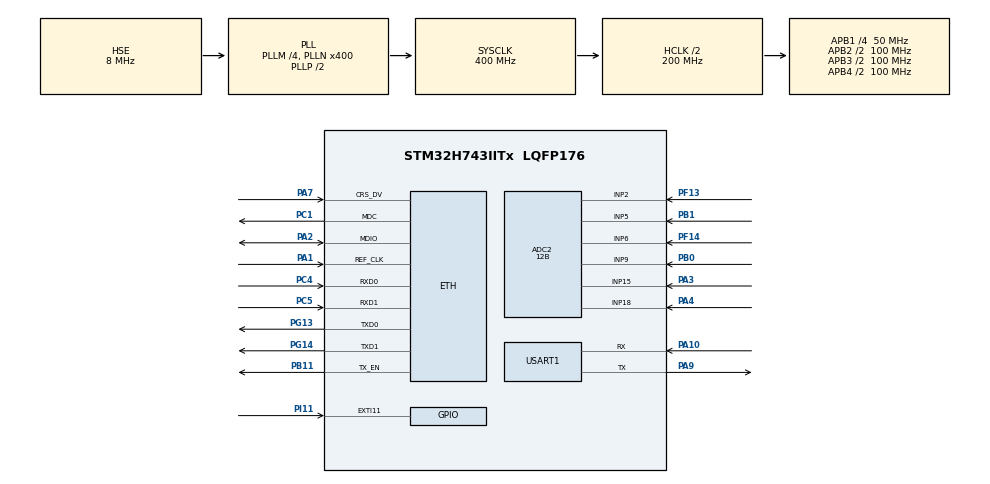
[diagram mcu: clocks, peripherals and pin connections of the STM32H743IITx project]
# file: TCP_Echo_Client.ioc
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ADC2.Channel-0\#ChannelRegularConversion=ADC_CHANNEL_2
ADC2.Channel-10\#ChannelRegularConversion=ADC_CHANNEL_15
ADC2.Channel-11\#ChannelRegularConversion=ADC_CHANNEL_18
ADC2.Channel-4\#ChannelRegularConversion=ADC_CHANNEL_5
ADC2.Channel-8\#ChannelRegularConversion=ADC_CHANNEL_6
ADC2.Channel-9\#ChannelRegularConversion=ADC_CHANNEL_9
ADC2.ClockPrescaler=ADC_CLOCK_ASYNC_DIV4
ADC2.ContinuousConvMode=DISABLE
ADC2.ConversionDataManagement=ADC_CONVERSIONDATA_DR
ADC2.EnableInjectedConversion=ENABLE
ADC2.InjNumberOfConversion=0
ADC2.LowPowerAutoWait=DISABLE
ADC2.NbrOfConversion=6
ADC2.NbrOfConversionFlag=1
ADC2.OffsetNumber-0\#ChannelRegularConversion=ADC_OFFSET_NONE
ADC2.OffsetNumber-10\#ChannelRegularConversion=ADC_OFFSET_NONE
ADC2.OffsetNumber-11\#ChannelRegularConversion=ADC_OFFSET_NONE
ADC2.OffsetNumber-4\#ChannelRegularConversion=ADC_OFFSET_NONE
ADC2.OffsetNumber-8\#ChannelRegularConversion=ADC_OFFSET_NONE
ADC2.OffsetNumber-9\#ChannelRegularConversion=ADC_OFFSET_NONE
ADC2.OversamplingMode=DISABLE
ADC2.Rank-0\#ChannelRegularConversion=1
ADC2.Rank-10\#ChannelRegularConversion=5
ADC2.Rank-11\#ChannelRegularConversion=6
ADC2.Rank-4\#ChannelRegularConversion=2
ADC2.Rank-8\#ChannelRegularConversion=3
ADC2.Rank-9\#ChannelRegularConversion=4
ADC2.Resolution=ADC_RESOLUTION_12B
ADC2.SamplingTime-0\#ChannelRegularConversion=ADC_SAMPLETIME_810CYCLES_5
ADC2.SamplingTime-10\#ChannelRegularConversion=ADC_SAMPLETIME_810CYCLES_5
ADC2.SamplingTime-11\#ChannelRegularConversion=ADC_SAMPLETIME_810CYCLES_5
ADC2.SamplingTime-4\#ChannelRegularConversion=ADC_SAMPLETIME_810CYCLES_5
ADC2.SamplingTime-8\#ChannelRegularConversion=ADC_SAMPLETIME_810CYCLES_5
ADC2.SamplingTime-9\#ChannelRegularConversion=ADC_SAMPLETIME_810CYCLES_5
CORTEX_M7.CPU_DCache=Enabled
CORTEX_M7.CPU_ICache=Enabled
ETH.MediaInterface=HAL_ETH_RMII_MODE
LWIP.BSP.number=1
LWIP.GATEWAY_ADDRESS=192.168.001.001
LWIP.IP_ADDRESS=192.168.001.110
LWIP.LWIP_DHCP=1
LWIP.LWIP_NETIF_LINK_CALLBACK=1
LWIP.NETMASK_ADDRESS=255.255.255.000
LWIP.TCP_QUEUE_OOSEQ=0
LWIP.Version=v2.0.3_Cube
LWIP0.BSP.STBoard=false
LWIP0.BSP.api=BSP_COMPONENT_DRIVER
LWIP0.BSP.component=LAN8742
LWIP0.BSP.i2caddr=0
LWIP0.BSP.instance=LAN8742
LWIP0.BSP.name=Driver_PHY
LWIP0.BSP.solution=LAN8742
Mcu.Family=STM32H7
Mcu.Name=STM32H743IITx
Mcu.Package=LQFP176
Mcu.UserConstants=DEST_IP_ADDR0,192;DEST_IP_ADDR1,168;DEST_IP_ADDR2,1;DEST_IP_ADDR3,206;DEST_PORT,7
NVIC.ETH_IRQn=true\:0\:0\:false\:false\:true\:true
NVIC.PriorityGroup=NVIC_PRIORITYGROUP_4
PA1.GPIO_Mode=GPIO_MODE_AF_PP
PA1.GPIO_PuPd=GPIO_NOPULL
PA1.GPIO_Speed=GPIO_SPEED_FREQ_LOW
PA1.Mode=RMII
PA1.Signal=ETH_REF_CLK
PA10.Mode=Asynchronous
PA10.Signal=USART1_RX
PA13\ (JTMS/SWDIO).Mode=JTAG_5_pins
PA13\ (JTMS/SWDIO).Signal=SYS_JTMS-SWDIO
PA14\ (JTCK/SWCLK).Mode=JTAG_5_pins
PA14\ (JTCK/SWCLK).Signal=SYS_JTCK-SWCLK
PA15\ (JTDI).Mode=JTAG_5_pins
PA15\ (JTDI).Signal=SYS_JTDI
PA2.GPIO_Mode=GPIO_MODE_AF_PP
PA2.GPIO_PuPd=GPIO_NOPULL
PA2.GPIO_Speed=GPIO_SPEED_FREQ_LOW
PA2.Mode=RMII
PA2.Signal=ETH_MDIO
PA3.Signal=ADCx_INP15
PA4.Signal=ADCx_INP18
PA7.GPIO_Mode=GPIO_MODE_AF_PP
PA7.GPIO_PuPd=GPIO_NOPULL
PA7.GPIO_Speed=GPIO_SPEED_FREQ_LOW
PA7.Mode=RMII
PA7.Signal=ETH_CRS_DV
PA9.Mode=Asynchronous
PA9.Signal=USART1_TX
PB0.Signal=ADCx_INP9
PB1.Signal=ADCx_INP5
PB11.GPIO_Mode=GPIO_MODE_AF_PP
PB11.GPIO_PuPd=GPIO_NOPULL
PB11.GPIO_Speed=GPIO_SPEED_FREQ_LOW
PB11.Mode=RMII
PB11.Signal=ETH_TX_EN
PB3\ (JTDO/TRACESWO).Mode=JTAG_5_pins
PB3\ (JTDO/TRACESWO).Signal=SYS_JTDO-SWO
PB4\ (NJTRST).Mode=JTAG_5_pins
PB4\ (NJTRST).Signal=SYS_JTRST
PC1.Mode=RMII
PC1.Signal=ETH_MDC
PC4.GPIO_Mode=GPIO_MODE_AF_PP
PC4.GPIO_PuPd=GPIO_NOPULL
PC4.GPIO_Speed=GPIO_SPEED_FREQ_LOW
PC4.Mode=RMII
PC4.Signal=ETH_RXD0
PC5.GPIO_Mode=GPIO_MODE_AF_PP
PC5.GPIO_PuPd=GPIO_NOPULL
PC5.GPIO_Speed=GPIO_SPEED_FREQ_LOW
PC5.Mode=RMII
PC5.Signal=ETH_RXD1
PF13.Mode=IN2-Single-Ended
PF13.Signal=ADC2_INP2
PF14.Mode=IN6-Single-Ended
PF14.Signal=ADC2_INP6
PG13.GPIO_Mode=GPIO_MODE_AF_PP
PG13.GPIO_PuPd=GPIO_NOPULL
PG13.GPIO_Speed=GPIO_SPEED_FREQ_LOW
PG13.Mode=RMII
PG13.Signal=ETH_TXD0
PG14.GPIO_Mode=GPIO_MODE_AF_PP
PG14.GPIO_PuPd=GPIO_NOPULL
PG14.GPIO_Speed=GPIO_SPEED_FREQ_LOW
PG14.Mode=RMII
PG14.Signal=ETH_TXD1
PH0-OSC_IN\ (PH0).Mode=HSE-External-Oscillator
PH0-OSC_IN\ (PH0).Signal=RCC_OSC_IN
PH1-OSC_OUT\ (PH1).Mode=HSE-External-Oscillator
PH1-OSC_OUT\ (PH1).Signal=RCC_OSC_OUT
PI11.GPIO_ModeDefaultEXTI=GPIO_MODE_IT_RISING
PI11.GPIO_PuPd=GPIO_NOPULL
PI11.Signal=GPXTI11
ProjectManager.HeapSize=0x200
ProjectManager.StackSize=0x400
ProjectManager.TargetToolchain=MDK-ARM V5
RCC.ADCFreq_Value=100000000
RCC.APB1Freq_Value=50000000
RCC.APB2Freq_Value=100000000
RCC.APB3Freq_Value=100000000
RCC.APB4Freq_Value=100000000
RCC.CortexFreq_Value=400000000
RCC.D1PPRE=RCC_APB3_DIV2
RCC.D2PPRE1=RCC_APB1_DIV4
RCC.D2PPRE2=RCC_APB2_DIV2
RCC.D3PPRE=RCC_APB4_DIV2
RCC.DIVM1=4
RCC.DIVM2=4
RCC.DIVM3=4
RCC.DIVN1=400
RCC.DIVN2=100
RCC.DIVN3=44
RCC.HCLKFreq_Value=200000000
RCC.HPRE=RCC_HCLK_DIV2
RCC.HSE_VALUE=8000000
RCC.PLLSourceVirtual=RCC_PLLSOURCE_HSE
RCC.SYSCLKFreq_VALUE=400000000
RCC.SYSCLKSource=RCC_SYSCLKSOURCE_PLLCLK
RCC.USBFreq_Value=400000000
SH.ADCx_INP15.0=ADC2_INP15,IN15-Single-Ended
SH.ADCx_INP18.0=ADC2_INP18,IN18-Single-Ended
SH.ADCx_INP5.0=ADC2_INP5,IN5-Single-Ended
SH.ADCx_INP9.0=ADC2_INP9,IN9-Single-Ended
USART1.VirtualMode-Asynchronous=VM_ASYNC
VP_LWIP_VS_Enabled.Mode=Enabled
board=custom

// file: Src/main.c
/* USER CODE BEGIN Header */
/**
  ******************************************************************************
  * @file           : main.c
  * @brief          : Main program body
  ******************************************************************************
  * This notice applies to any and all portions of this file
  * that are not between comment pairs USER CODE BEGIN and
  * USER CODE END. Other portions of this file, whether
  * inserted by the user or by software development tools
  * are owned by their respective copyright owners.
  *
  * Copyright (c) 2019 STMicroelectronics International N.V.
  * All rights reserved.
  *
  * Redistribution and use in source and binary forms, with or without
  * modification, are permitted, provided that the following conditions are met:
  *
  * 1. Redistribution of source code must retain the above copyright notice,
  *    this list of conditions and the following disclaimer.
  * 2. Redistributions in binary form must reproduce the above copyright notice,
  *    this list of conditions and the following disclaimer in the documentation
  *    and/or other materials provided with the distribution.
  * 3. Neither the name of STMicroelectronics nor the names of other
  *    contributors to this software may be used to endorse or promote products
  *    derived from this software without specific written permission.
  * 4. This software, including modifications and/or derivative works of this
  *    software, must execute solely and exclusively on microcontroller or
  *    microprocessor devices manufactured by or for STMicroelectronics.
  * 5. Redistribution and use of this software other than as permitted under
  *    this license is void and will automatically terminate your rights under
  *    this license.
  *
  * THIS SOFTWARE IS PROVIDED BY STMICROELECTRONICS AND CONTRIBUTORS "AS IS"
  * AND ANY EXPRESS, IMPLIED OR STATUTORY WARRANTIES, INCLUDING, BUT NOT
  * LIMITED TO, THE IMPLIED WARRANTIES OF MERCHANTABILITY, FITNESS FOR A
  * PARTICULAR PURPOSE AND NON-INFRINGEMENT OF THIRD PARTY INTELLECTUAL PROPERTY
  * RIGHTS ARE DISCLAIMED TO THE FULLEST EXTENT PERMITTED BY LAW. IN NO EVENT
  * SHALL STMICROELECTRONICS OR CONTRIBUTORS BE LIABLE FOR ANY DIRECT, INDIRECT,
  * INCIDENTAL, SPECIAL, EXEMPLARY, OR CONSEQUENTIAL DAMAGES (INCLUDING, BUT NOT
  * LIMITED TO, PROCUREMENT OF SUBSTITUTE GOODS OR SERVICES; LOSS OF USE, DATA,
  * OR PROFITS; OR BUSINESS INTERRUPTION) HOWEVER CAUSED AND ON ANY THEORY OF
  * LIABILITY, WHETHER IN CONTRACT, STRICT LIABILITY, OR TORT (INCLUDING
  * NEGLIGENCE OR OTHERWISE) ARISING IN ANY WAY OUT OF THE USE OF THIS SOFTWARE,
  * EVEN IF ADVISED OF THE POSSIBILITY OF SUCH DAMAGE.
  *
  ******************************************************************************
  */
/* USER CODE END Header */

#include "main.h"
#include "adc.h"
#include "lwip.h"
#include "usart.h"
#include "gpio.h"

/* USER CODE BEGIN Includes */
//#include "tcp_echoserver.h"
#include "udp_echoclient.h"

/* USER CODE END Includes */

void SystemClock_Config(void);

/* USER CODE BEGIN 0 */

static void MPU_Config(void)
{
  MPU_Region_InitTypeDef MPU_InitStruct;

  /* Disable the MPU */
  HAL_MPU_Disable();

  /* Configure the MPU attributes as Device not cacheable
     for ETH DMA descriptors */
  MPU_InitStruct.Enable = MPU_REGION_ENABLE;
  MPU_InitStruct.BaseAddress = 0x30040000;
  MPU_InitStruct.Size = MPU_REGION_SIZE_256B;
  MPU_InitStruct.AccessPermission = MPU_REGION_FULL_ACCESS;
  MPU_InitStruct.IsBufferable = MPU_ACCESS_BUFFERABLE;
  MPU_InitStruct.IsCacheable = MPU_ACCESS_NOT_CACHEABLE;
  MPU_InitStruct.IsShareable = MPU_ACCESS_NOT_SHAREABLE;
  MPU_InitStruct.Number = MPU_REGION_NUMBER0;
  MPU_InitStruct.TypeExtField = MPU_TEX_LEVEL0;
  MPU_InitStruct.SubRegionDisable = 0x00;
  MPU_InitStruct.DisableExec = MPU_INSTRUCTION_ACCESS_ENABLE;

  HAL_MPU_ConfigRegion(&MPU_InitStruct);

  /* Configure the MPU attributes as Cacheable write through
     for LwIP RAM heap which contains the Tx buffers */
  MPU_InitStruct.Enable = MPU_REGION_ENABLE;
  MPU_InitStruct.BaseAddress = 0x30044000;
  MPU_InitStruct.Size = MPU_REGION_SIZE_16KB;
  MPU_InitStruct.AccessPermission = MPU_REGION_FULL_ACCESS;
  MPU_InitStruct.IsBufferable = MPU_ACCESS_NOT_BUFFERABLE;
  MPU_InitStruct.IsCacheable = MPU_ACCESS_CACHEABLE;
  MPU_InitStruct.IsShareable = MPU_ACCESS_NOT_SHAREABLE;
  MPU_InitStruct.Number = MPU_REGION_NUMBER1;
  MPU_InitStruct.TypeExtField = MPU_TEX_LEVEL0;
  MPU_InitStruct.SubRegionDisable = 0x00;
  MPU_InitStruct.DisableExec = MPU_INSTRUCTION_ACCESS_ENABLE;

  HAL_MPU_ConfigRegion(&MPU_InitStruct);

  /* Enable the MPU */
  HAL_MPU_Enable(MPU_PRIVILEGED_DEFAULT);
}

#define ADC2_NUM 6
uint16_t ADC2Result[ADC2_NUM];

#define BACKUP_NUM 50
uint16_t ADC2Backup[ADC2_NUM][BACKUP_NUM] = { 0x00, };

char tempData[256];

/* USER CODE END 0 */

int main(void)
{
  /* USER CODE BEGIN 1 */
	MPU_Config();
  /* USER CODE END 1 */

  /* Enable I-Cache---------------------------------------------------------*/
  SCB_EnableICache();

  /* Enable D-Cache---------------------------------------------------------*/
  SCB_EnableDCache();

  /* MCU Configuration--------------------------------------------------------*/

  /* Reset of all peripherals, Initializes the Flash interface and the Systick. */
  HAL_Init();

  /* Configure the system clock */
  SystemClock_Config();

  /* USER CODE BEGIN SysInit */
	__HAL_RCC_D2SRAM3_CLK_ENABLE();
  /* USER CODE END SysInit */

  /* Initialize all configured peripherals */
  MX_GPIO_Init();
  MX_USART1_UART_Init();
  MX_LWIP_Init();
  MX_ADC2_Init();
  /* USER CODE BEGIN 2 */
	printf("ETH LwIP TCP_Server DP83848 Test  \r\n");
  // tcp_echoserver_init();
	udp_echoclient_connect();
  /* USER CODE END 2 */

  /* Infinite loop */
  /* USER CODE BEGIN WHILE */
	uint32_t startTime = 0;
	uint32_t startTime2 = 0;
  uint32_t elapsedTime = 0;
		int count =  0;

  // HAL_ADC_Start_DMA(&hadc2, (uint32_t *)ADC1Result, ADC1_NUM);
	// HAL_ADCEx_Calibration_Start(&hadc2, ADC_CALIB_OFFSET, ADC_SINGLE_ENDED);
	while(!(HAL_ADCEx_Calibration_Start(&hadc2,ADC_CALIB_OFFSET, ADC_SINGLE_ENDED)==HAL_OK));

  while (1)
  {
    /* USER CODE END WHILE */

    /* USER CODE BEGIN 3 */
			MX_LWIP_Process();

			elapsedTime = HAL_GetTick();

			/*
			if(1000 < (elapsedTime - startTime2)) {

				extern struct netif gnetif;
				u32_t local_IP = gnetif.ip_addr.addr;
				printf("IP %d.%d.%d.%d\n\r",(local_IP & 0xff), ((local_IP >> 8) & 0xff), ((local_IP >> 16) & 0xff), (local_IP >> 24));
				startTime2 = elapsedTime;
			}
			*/

			if(10 < (elapsedTime - startTime)) {

					HAL_ADC_Start(&hadc2);
				for(int i = 0; i < ADC2_NUM; i++) {
						HAL_ADC_PollForConversion(&hadc2, HAL_MAX_DELAY);
	  				ADC2Backup[i][count % BACKUP_NUM] = HAL_ADC_GetValue(&hadc2);
					  double total = 0;
						for(int j = 0; j < BACKUP_NUM; j++)
						{
							total += ADC2Backup[i][j];
						}
						ADC2Result[i] = total / BACKUP_NUM;

					//}
				}

				HAL_ADC_Stop(&hadc2);

				printf("%ld,%ld,%ld,%ld,%ld,%ld\r\n",
					ADC2Result[0], ADC2Result[1],ADC2Result[2], ADC2Result[3],
					ADC2Result[4], ADC2Result[5]
					);

				memset((char *)tempData, 0x00, 256);
				sprintf(tempData,"%ld,%ld,%ld,%ld,%ld,%ld",
					ADC2Result[0], ADC2Result[1],ADC2Result[2], ADC2Result[3],
					ADC2Result[4], ADC2Result[5]
					);

				udp_echoclient_sendEx(tempData);

				startTime = elapsedTime;

				count += 1;
			}
			HAL_Delay(10);

  }
  /* USER CODE END 3 */
}

void SystemClock_Config(void)
{
  RCC_OscInitTypeDef RCC_OscInitStruct = {0};
  RCC_ClkInitTypeDef RCC_ClkInitStruct = {0};
  RCC_PeriphCLKInitTypeDef PeriphClkInitStruct = {0};

  /**Supply configuration update enable
  */
  MODIFY_REG(PWR->CR3, PWR_CR3_SCUEN, 0);
  /**Configure the main internal regulator output voltage
  */
  __HAL_PWR_VOLTAGESCALING_CONFIG(PWR_REGULATOR_VOLTAGE_SCALE1);

  while ((PWR->D3CR & (PWR_D3CR_VOSRDY)) != PWR_D3CR_VOSRDY)
  {

  }
  /**Macro to configure the PLL clock source
  */
  __HAL_RCC_PLL_PLLSOURCE_CONFIG(RCC_PLLSOURCE_HSE);
  /**Initializes the CPU, AHB and APB busses clocks
  */
  RCC_OscInitStruct.OscillatorType = RCC_OSCILLATORTYPE_HSE;
  RCC_OscInitStruct.HSEState = RCC_HSE_ON;
  RCC_OscInitStruct.PLL.PLLState = RCC_PLL_ON;
  RCC_OscInitStruct.PLL.PLLSource = RCC_PLLSOURCE_HSE;
  RCC_OscInitStruct.PLL.PLLM = 4;
  RCC_OscInitStruct.PLL.PLLN = 400;
  RCC_OscInitStruct.PLL.PLLP = 2;
  RCC_OscInitStruct.PLL.PLLQ = 2;
  RCC_OscInitStruct.PLL.PLLR = 2;
  RCC_OscInitStruct.PLL.PLLRGE = RCC_PLL1VCIRANGE_1;
  RCC_OscInitStruct.PLL.PLLVCOSEL = RCC_PLL1VCOWIDE;
  RCC_OscInitStruct.PLL.PLLFRACN = 0;
  if (HAL_RCC_OscConfig(&RCC_OscInitStruct) != HAL_OK)
  {
    Error_Handler();
  }
  /**Initializes the CPU, AHB and APB busses clocks
  */
  RCC_ClkInitStruct.ClockType = RCC_CLOCKTYPE_HCLK|RCC_CLOCKTYPE_SYSCLK
                              |RCC_CLOCKTYPE_PCLK1|RCC_CLOCKTYPE_PCLK2
                              |RCC_CLOCKTYPE_D3PCLK1|RCC_CLOCKTYPE_D1PCLK1;
  RCC_ClkInitStruct.SYSCLKSource = RCC_SYSCLKSOURCE_PLLCLK;
  RCC_ClkInitStruct.SYSCLKDivider = RCC_SYSCLK_DIV1;
  RCC_ClkInitStruct.AHBCLKDivider = RCC_HCLK_DIV2;
  RCC_ClkInitStruct.APB3CLKDivider = RCC_APB3_DIV2;
  RCC_ClkInitStruct.APB1CLKDivider = RCC_APB1_DIV4;
  RCC_ClkInitStruct.APB2CLKDivider = RCC_APB2_DIV2;
  RCC_ClkInitStruct.APB4CLKDivider = RCC_APB4_DIV2;

  if (HAL_RCC_ClockConfig(&RCC_ClkInitStruct, FLASH_LATENCY_2) != HAL_OK)
  {
    Error_Handler();
  }
  PeriphClkInitStruct.PeriphClockSelection = RCC_PERIPHCLK_USART1|RCC_PERIPHCLK_ADC;
  PeriphClkInitStruct.PLL2.PLL2M = 4;
  PeriphClkInitStruct.PLL2.PLL2N = 100;
  PeriphClkInitStruct.PLL2.PLL2P = 2;
  PeriphClkInitStruct.PLL2.PLL2Q = 2;
  PeriphClkInitStruct.PLL2.PLL2R = 2;
  PeriphClkInitStruct.PLL2.PLL2RGE = RCC_PLL2VCIRANGE_1;
  PeriphClkInitStruct.PLL2.PLL2VCOSEL = RCC_PLL2VCOWIDE;
  PeriphClkInitStruct.PLL2.PLL2FRACN = 0;
  PeriphClkInitStruct.Usart16ClockSelection = RCC_USART16CLKSOURCE_D2PCLK2;
  PeriphClkInitStruct.AdcClockSelection = RCC_ADCCLKSOURCE_PLL2;
  if (HAL_RCCEx_PeriphCLKConfig(&PeriphClkInitStruct) != HAL_OK)
  {
    Error_Handler();
  }
}

void Error_Handler(void)
{
  /* USER CODE BEGIN Error_Handler_Debug */
  /* User can add his own implementation to report the HAL error return state */
	printf("Error_Handler\r\n");
  /* USER CODE END Error_Handler_Debug */
}

/************************ (C) COPYRIGHT STMicroelectronics *****END OF FILE****/
